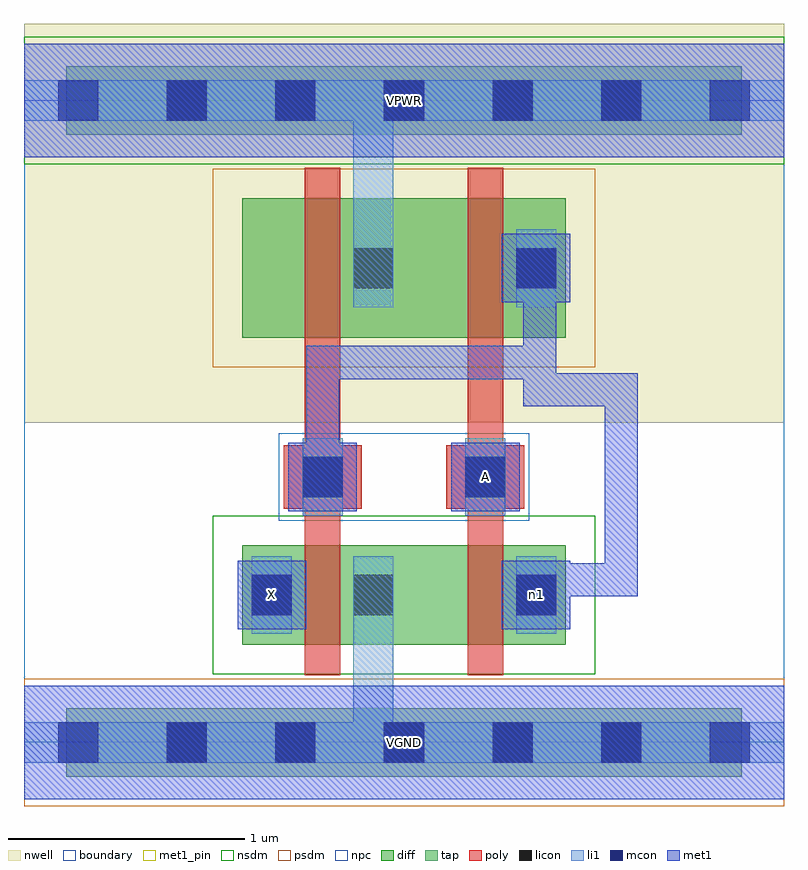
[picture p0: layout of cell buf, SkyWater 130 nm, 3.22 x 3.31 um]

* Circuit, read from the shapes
.subckt buf A VGND VPWR X n1
XM1 VGND n1 X VGND sky130_fd_pr__nfet_01v8 w=0.42 l=0.15
XM2 n1 A VGND VGND sky130_fd_pr__nfet_01v8 w=0.42 l=0.15
XM3 VPWR n1 n2 VPWR sky130_fd_pr__pfet_01v8 w=0.59 l=0.15
XM4 n1 A VPWR VPWR sky130_fd_pr__pfet_01v8 w=0.59 l=0.15
.ends

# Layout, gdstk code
import gdstk
lib = gdstk.Library(unit=1e-6, precision=1e-09)
def R(c, l, rs):  # rectangles x0, y0, x1, y1
    for r in rs: c.add(gdstk.rectangle(r[:2], r[2:], *l))
def A(c, l, x, y, w, h, nx, ny, dx, dy):  # array of equal rectangles
    R(c, l, [(x+i*dx, y+j*dy, x+i*dx+w, y+j*dy+h) for i in range(nx) for j in range(ny)])
nwell = (64, 20)
diff = (65, 20)
tap = (65, 44)
poly = (66, 20)
licon = (66, 44)
li1 = (67, 20)
mcon = (67, 44)
met1_pin = (68, 16)
met1 = (68, 20)
nsdm = (93, 44)
psdm = (94, 20)
npc = (95, 20)
boundary = (235, 4)

buf = lib.new_cell('buf')
R(buf, nwell, [(0,1.355,3.22,3.045)])
R(buf, diff, [(0.925,0.415,2.295,0.835), (0.925,1.715,2.295,2.305)])
R(buf, tap, [(0.18,-0.145,3.04,0.145), (0.18,2.575,3.04,2.865)])
R(buf, poly, [(1.19,0.285,1.34,2.435), (1.88,0.285,2.03,2.435), (1.1,0.99,1.43,1.26), (1.79,0.99,2.12,1.26)])
A(buf, licon, 0.605, -0.085, 0.17, 0.17, 5, 2, 0.46, 2.72)
R(buf, licon, [(0.965,0.54,1.135,0.71), (1.395,0.54,1.565,0.71), (2.085,0.54,2.255,0.71), (1.18,1.04,1.35,1.21), (1.87,1.04,2.04,1.21), (1.395,1.925,1.565,2.095), (2.085,1.925,2.255,2.095)])
R(buf, li1, [(0,-0.085,3.22,0.085), (1.395,-0.085,1.565,0.79), (0.965,0.46,1.135,0.79), (1.395,0.46,1.565,0.79), (2.085,0.46,2.255,0.79), (1.18,0.96,1.35,1.29), (1.87,0.96,2.04,1.29), (1.395,1.845,1.565,2.175), (1.395,1.845,1.565,2.805), (2.085,1.845,2.255,2.175), (0,2.635,3.22,2.805)])
A(buf, mcon, 0.145, -0.085, 0.17, 0.17, 7, 2, 0.46, 2.72)
R(buf, mcon, [(0.965,0.54,1.135,0.71), (2.085,0.54,2.255,0.71), (1.18,1.04,1.35,1.21), (1.87,1.04,2.04,1.21), (2.085,1.925,2.255,2.095)])
R(buf, met1_pin, [(0,-0.24,3.22,0.24), (0.905,0.48,1.195,0.77), (1.81,0.98,2.1,1.27), (0,2.48,3.22,2.96)])
R(buf, met1, [(0,-0.24,3.22,0.24), (0.905,0.48,1.195,0.77), (2.025,0.48,2.315,0.77), (2.115,0.62,2.255,0.76), (2.115,0.62,2.6,0.76), (2.46,0.62,2.6,1.565), (1.12,0.98,1.41,1.27), (1.81,0.98,2.1,1.27), (1.195,1.08,1.335,1.22), (1.195,1.08,1.335,1.68), (2.115,1.425,2.255,1.68), (2.115,1.425,2.6,1.565), (1.195,1.54,2.255,1.68), (2.115,1.54,2.255,2.025), (2.025,1.865,2.315,2.155), (2.115,1.885,2.255,2.025), (0,2.48,3.22,2.96)])
R(buf, nsdm, [(0.8,0.29,2.42,0.96), (0,2.45,3.22,2.99)])
R(buf, psdm, [(0,-0.27,3.22,0.27), (0.8,1.59,2.42,2.43)])
R(buf, npc, [(1.08,0.94,2.14,1.31)])
R(buf, boundary, [(0,0,3.22,2.72)])
buf.add(gdstk.Label('n1', (2.17,0.625), layer=67, texttype=5))
buf.add(gdstk.Label('A', (1.955,1.125), layer=68, texttype=5))
buf.add(gdstk.Label('X', (1.05,0.625), layer=68, texttype=5))
buf.add(gdstk.Label('VPWR', (1.61,2.72), layer=68, texttype=5))
buf.add(gdstk.Label('VGND', (1.61,0), layer=68, texttype=5))
buf.add(gdstk.Label('A', (1.955,1.125), layer=68, texttype=16))
buf.add(gdstk.Label('X', (1.05,0.625), layer=68, texttype=16))
buf.add(gdstk.Label('VPWR', (1.61,2.72), layer=68, texttype=16))
buf.add(gdstk.Label('VGND', (1.61,0), layer=68, texttype=16))

lib.write_gds('buf.gds')
